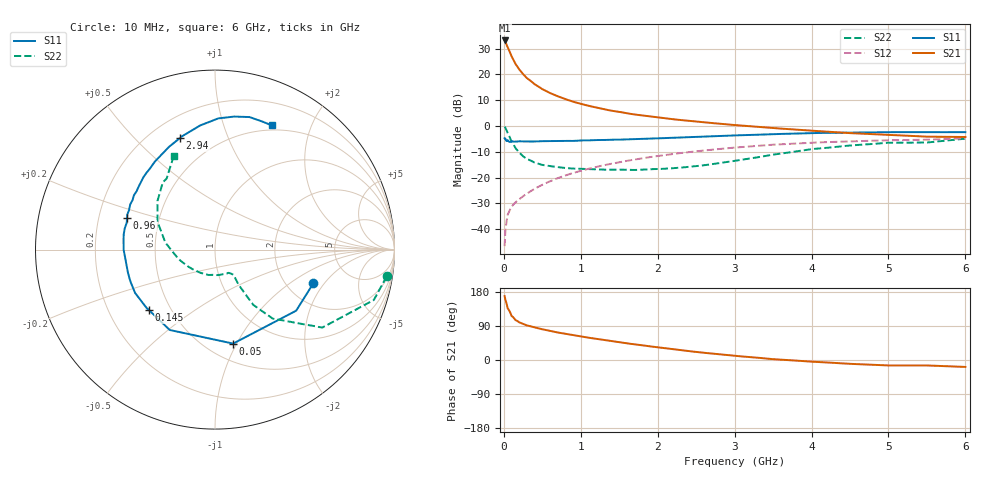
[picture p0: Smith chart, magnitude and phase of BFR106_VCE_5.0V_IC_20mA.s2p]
! Infineon Technologies  Discrete & RF Semiconductors
! BFR106
! VCE =  5.0 V,  IC =  20 mA
! Common Emitter S-Parameters:  Nov 2015
# GHz  S  MA  R  50
!  f  S11  S21  S12  S22
! GHz  MAG  ANG  MAG  ANG  MAG  ANG  MAG  ANG
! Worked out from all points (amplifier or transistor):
!   210 points, 10 MHz to 6 GHz, reference 50 ohm
!   highest |S21| = 33.2 dB at 10 MHz (marker M1)
!   |S21| within 3 dB of that: start of sweep to 56.39 MHz
!   unconditionally stable (mu >= 1): 378.2 MHz to 2.117 GHz
!   at 185 MHz: K = 0.76, MSG = 25.7 dB, |S12| = -28.7 dB
!   at 1.52 GHz: K = 1.05, MAG = 8.2 dB, |S12| = -13.9 dB
!   at 6 GHz: K = 0.99, MSG = 0.3 dB, |S12| = -4.8 dB
!   S11 on the Smith chart (normalised r, x): 10 MHz: 2.78, -1.57; 50 MHz: 0.66, -0.97; 145 MHz: 0.38, -0.34; 960 MHz: 0.32, +0.16; 2.94 GHz: 0.32, +0.69; 6 GHz: 0.45, +1.46
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0.01  0.5797 -18.8  45.49 168.6  0.0047 83.3  0.9683 -8.9
0.02  0.5659 -37.0  43.25 159.2  0.0093 76.5  0.9284 -17.6
0.05  0.5333 -79.1  33.82 136.4  0.019 61.7  0.7391 -36.0
0.1  0.514 -119.4  22.41 116.5  0.0273 54.4  0.5011 -50.1
0.145  0.4991 -137.7  16.65 107.1  0.0325 53.9  0.3871 -54.6
0.15  0.5007 -139.8  16.05 105.6  0.0331 53.9  0.3746 -55.3
0.2  0.5065 -151.4  12.49 99.4  0.0381 56.8  0.3053 -55.7
0.26  0.5031 -160.6  9.76 94.0  0.0446 58.9  0.2522 -56.0
0.3  0.5017 -165.2  8.484 91.2  0.0489 60.8  0.2316 -56.0
0.4  0.5017 -173.6  6.452 85.8  0.0607 63.7  0.1958 -54.7
0.5  0.5091 180.0  5.184 81.0  0.0727 65.3  0.1765 -53.8
0.6  0.5119 175.0  4.362 76.7  0.0849 66.2  0.1671 -54.9
0.8  0.5166 166.7  3.313 69.1  0.1102 66.4  0.1532 -58.4
0.96  0.5209 160.2  2.796 63.7  0.1304 65.9  0.1491 -62.0
1.02  0.5262 157.7  2.643 61.7  0.138 65.5  0.1483 -64.2
1.4  0.5436 146.2  1.98 50.1  0.1862 62.4  0.1433 -79.1
2.02  0.5784 129.0  1.453 32.9  0.2646 55.0  0.1472 -111.8
2.94  0.6518 107.4  1.064 12.2  0.3749 42.0  0.205 -163.8
3.1  0.6638 104.2  1.017 9.3  0.3919 39.5  0.2219 -171.6
4.1  0.7339 87.2  0.795 -5.4  0.4823 23.9  0.3671 150.9
5.1  0.762 74.2  0.664 -14.4  0.5328 10.1  0.475 127.1
6  0.7607 65.4  0.613 -18.3  0.5775 -0.4  0.5686 113.9
